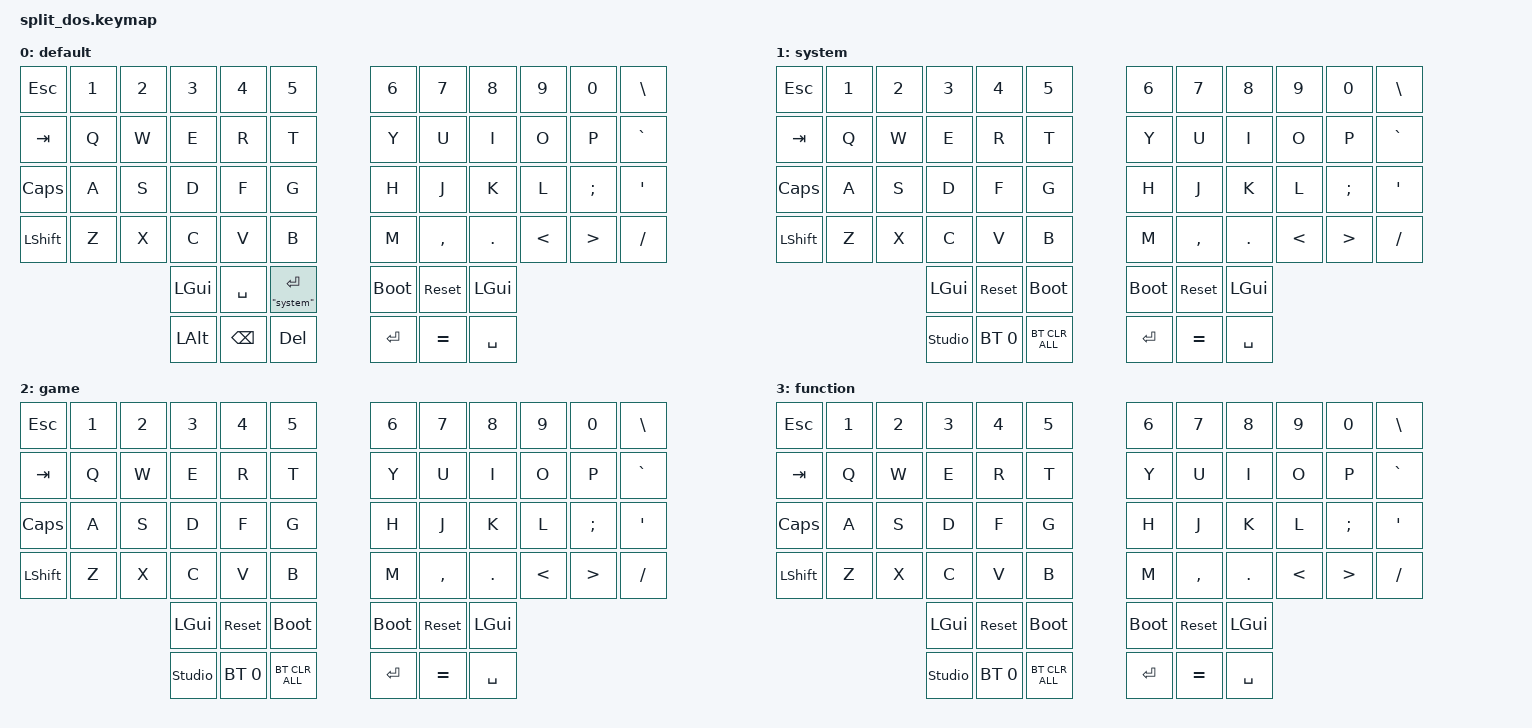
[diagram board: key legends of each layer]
/*
 * Copyright (c) 2023 The ZMK Contributors
 * SPDX-License-Identifier: MIT
 */

#include <behaviors.dtsi>
#include <dt-bindings/zmk/outputs.h>
#include <dt-bindings/zmk/keys.h>
#include <dt-bindings/zmk/bt.h>

/*
 * Assign the cs-gpios pin to 4.
 * Uncomment these next few lines if implementing nice!view Displays
 * A wire from the nice!view CS display needs to be connected to the
 * High Frequency P0.22, also known as D4 if you choose to refer to
 * the pins with Arduino Labels.
 */
//nice_view_spi: &spi0 {
//  cs-gpios = <&pro_micro 4 GPIO_ACTIVE_HIGH>;
//};

&lt {
    tapping-term-ms = <200>;
    flavor = "hold-preferred";
};

/ {

    keymap {
        compatible = "zmk,keymap";

        default_layer {
            display-name = "default";
            bindings = <
                    &kp ESC    &kp N1     &kp N2     &kp N3     &kp N4     &kp N5                 &kp N6     &kp N7     &kp N8     &kp N9     &kp N0     &kp BSLH
                    &kp TAB    &kp Q      &kp W      &kp E      &kp R      &kp T                  &kp Y      &kp U      &kp I      &kp O      &kp P      &kp GRAVE
                    &kp CAPS   &kp A      &kp S      &kp D      &kp F      &kp G                  &kp H      &kp J      &kp K      &kp L      &kp SEMI   &kp SQT
                    &kp LSHFT  &kp Z      &kp X      &kp C      &kp V      &kp B                  &kp M      &kp COMMA  &kp DOT    &kp LT     &kp GT     &kp SLASH   
                                                     &kp LGUI   &kp SPACE  &lt "system" RETURN             &bootloader &sys_reset &kp LGUI  
                                                     &kp LALT   &kp BACKSPACE &kp DEL              &kp ENTER   &kp EQUAL  &kp SPACE
            >;
        };
        system_layer {
            display-name = "system";
            bindings = <
                    &kp ESC    &kp N1     &kp N2     &kp N3     &kp N4     &kp N5                 &kp N6     &kp N7     &kp N8     &kp N9     &kp N0     &kp BSLH
                    &kp TAB    &kp Q      &kp W      &kp E      &kp R      &kp T                  &kp Y      &kp U      &kp I      &kp O      &kp P      &kp GRAVE
                    &kp CAPS   &kp A      &kp S      &kp D      &kp F      &kp G                  &kp H      &kp J      &kp K      &kp L      &kp SEMI   &kp SQT
                    &kp LSHFT  &kp Z      &kp X      &kp C      &kp V      &kp B                  &kp M      &kp COMMA  &kp DOT    &kp LT     &kp GT     &kp SLASH   
                                                     &kp LGUI   &sys_reset &bootloader                     &bootloader &sys_reset &kp LGUI  
                                                     &studio_unlock    &bt BT_SEL 0 &bt BT_CLR_ALL                &kp ENTER   &kp EQUAL  &kp SPACE
            >;
        };

        game_layer {
            display-name = "game";
            bindings = <
                    &kp ESC    &kp N1     &kp N2     &kp N3     &kp N4     &kp N5                 &kp N6     &kp N7     &kp N8     &kp N9     &kp N0     &kp BSLH
                    &kp TAB    &kp Q      &kp W      &kp E      &kp R      &kp T                  &kp Y      &kp U      &kp I      &kp O      &kp P      &kp GRAVE
                    &kp CAPS   &kp A      &kp S      &kp D      &kp F      &kp G                  &kp H      &kp J      &kp K      &kp L      &kp SEMI   &kp SQT
                    &kp LSHFT  &kp Z      &kp X      &kp C      &kp V      &kp B                  &kp M      &kp COMMA  &kp DOT    &kp LT     &kp GT     &kp SLASH   
                                                     &kp LGUI   &sys_reset &bootloader                     &bootloader &sys_reset &kp LGUI  
                                                     &studio_unlock    &bt BT_SEL 0 &bt BT_CLR_ALL                &kp ENTER   &kp EQUAL  &kp SPACE
            >;
        };

        function_layer {
            display-name = "function";
            bindings = <
                    &kp ESC    &kp N1     &kp N2     &kp N3     &kp N4     &kp N5                 &kp N6     &kp N7     &kp N8     &kp N9     &kp N0     &kp BSLH
                    &kp TAB    &kp Q      &kp W      &kp E      &kp R      &kp T                  &kp Y      &kp U      &kp I      &kp O      &kp P      &kp GRAVE
                    &kp CAPS   &kp A      &kp S      &kp D      &kp F      &kp G                  &kp H      &kp J      &kp K      &kp L      &kp SEMI   &kp SQT
                    &kp LSHFT  &kp Z      &kp X      &kp C      &kp V      &kp B                  &kp M      &kp COMMA  &kp DOT    &kp LT     &kp GT     &kp SLASH   
                                                     &kp LGUI   &sys_reset &bootloader                     &bootloader &sys_reset &kp LGUI  
                                                     &studio_unlock    &bt BT_SEL 0 &bt BT_CLR_ALL                &kp ENTER   &kp EQUAL  &kp SPACE
            >;
        };


    };
};
